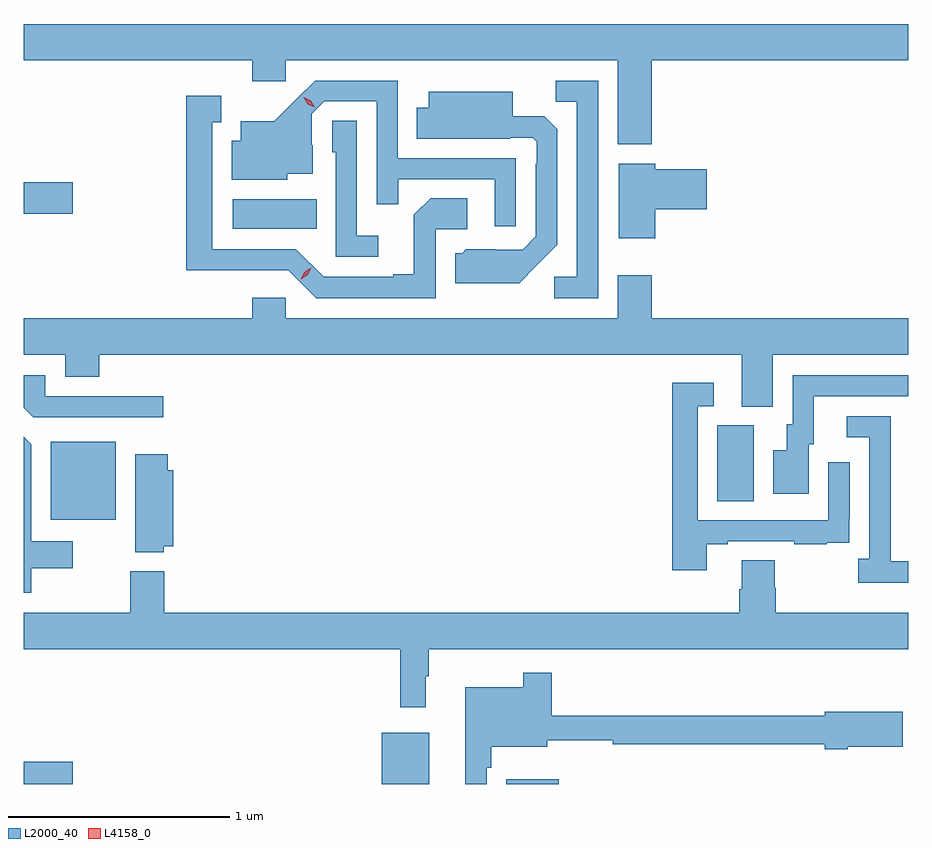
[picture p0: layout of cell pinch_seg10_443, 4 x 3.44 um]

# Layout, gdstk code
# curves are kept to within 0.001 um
import gdstk
lib = gdstk.Library(unit=1e-6, precision=1e-09)
def R(c, l, rs):  # rectangles x0, y0, x1, y1
    for r in rs: c.add(gdstk.rectangle(r[:2], r[2:], *l))
def P(c, l, *ps):  # polygons
    for p in ps: c.add(gdstk.Polygon(p, *l))
L2000_40 = (2000, 40)
L4158_0 = (4158, 0)

pinch_seg10_443 = lib.new_cell('pinch_seg10_443')
R(pinch_seg10_443, L2000_40, [(324.465,1291.714,324.685,1291.814), (326.084,1291.714,326.299,1291.945), (326.648,1291.714,326.884,1291.735), (324.587,1292.909,324.88,1293.262), (327.602,1292.992,327.766,1293.336), (325.41,1294.226,325.79,1294.36), (324.465,1294.294,324.685,1294.436)])
P(pinch_seg10_443, L2000_40, [(327.305,1294.988),(328.465,1294.988),(328.465,1295.152),(324.465,1295.152),(324.465,1294.988),(325.499,1294.988),(325.499,1294.893),(325.65,1294.893),(325.65,1294.988),(327.152,1294.988),(327.152,1294.608),(327.305,1294.608)],
  [(327.063,1294.896),(326.872,1294.896),(326.872,1294.801),(326.967,1294.801),(326.967,1294.008),(326.865,1294.008),(326.865,1293.912),(327.063,1293.912)],
  [(326.691,1294.545),(326.157,1294.545),(326.157,1294.896),(325.784,1294.896),(325.597,1294.711),(325.445,1294.711),(325.445,1294.624),(325.406,1294.624),(325.406,1294.448),(325.656,1294.448),(325.656,1294.475),(325.771,1294.475),(325.771,1294.604),(325.767,1294.604),(325.767,1294.746),(325.824,1294.803),(326.061,1294.803),(326.061,1294.336),(326.159,1294.336),(326.159,1294.449),(326.595,1294.449),(326.595,1294.236),(326.691,1294.236)],
  [(326.785,1294.061),(326.877,1294.154),(326.877,1294.676),(326.818,1294.735),(326.677,1294.735),(326.677,1294.846),(326.297,1294.846),(326.297,1294.774),(326.242,1294.774),(326.242,1294.634),(326.666,1294.634),(326.666,1294.638),(326.766,1294.638),(326.784,1294.62),(326.784,1294.52),(326.781,1294.52),(326.781,1294.191),(326.721,1294.131),(326.464,1294.132),(326.448,1294.116),(326.417,1294.116),(326.417,1293.98),(326.705,1293.98)],
  [(326.328,1294.224),(326.47,1294.224),(326.47,1294.364),(326.305,1294.364),(326.229,1294.288),(326.229,1294.021),(326.135,1294.021),(326.135,1294.008),(325.821,1294.008),(325.695,1294.134),(325.318,1294.134),(325.318,1294.707),(325.357,1294.707),(325.357,1294.828),(325.2,1294.828),(325.2,1294.037),(325.662,1294.038),(325.788,1293.912),(326.328,1293.912)],
  [(326.068,1294.195),(325.971,1294.195),(325.971,1294.715),(325.86,1294.715),(325.86,1294.572),(325.875,1294.572),(325.875,1294.098),(326.068,1294.098)],
  [(327.322,1294.313),(327.553,1294.313),(327.553,1294.496),(327.322,1294.496),(327.322,1294.519),(327.155,1294.519),(327.155,1294.182),(327.322,1294.182)],
  [(327.853,1293.656),(328.465,1293.656),(328.465,1293.82),(327.305,1293.82),(327.305,1294.015),(327.152,1294.015),(327.152,1293.82),(325.65,1293.82),(325.65,1293.913),(325.499,1293.913),(325.499,1293.82),(324.465,1293.82),(324.465,1293.656),(324.653,1293.656),(324.653,1293.557),(324.806,1293.557),(324.806,1293.656),(327.713,1293.656),(327.713,1293.421),(327.853,1293.421)],
  [(328.015,1293.252),(328.039,1293.252),(328.039,1293.468),(328.465,1293.468),(328.465,1293.564),(327.942,1293.564),(327.942,1293.342),(327.917,1293.342),(327.917,1293.223),(327.854,1293.223),(327.854,1293.027),(328.015,1293.027)],
  [(325.096,1293.468),(324.561,1293.468),(324.561,1293.564),(324.465,1293.564),(324.465,1293.415),(324.507,1293.372),(325.096,1293.372)],
  [(327.553,1292.799),(327.649,1292.799),(327.649,1292.811),(327.949,1292.811),(327.949,1292.799),(328.097,1292.799),(328.097,1292.805),(328.199,1292.805),(328.199,1292.914),(328.2,1292.914),(328.2,1293.169),(328.104,1293.169),(328.104,1292.907),(327.513,1292.907),(327.513,1293.423),(327.586,1293.423),(327.586,1293.529),(327.397,1293.529),(327.397,1292.682),(327.553,1292.682)],
  [(328.465,1292.721),(328.387,1292.721),(328.387,1292.921),(328.386,1292.921),(328.386,1293.378),(328.188,1293.378),(328.188,1293.282),(328.29,1293.282),(328.29,1292.734),(328.239,1292.734),(328.239,1292.624),(328.465,1292.624)],
  [(324.499,1292.69),(324.685,1292.69),(324.685,1292.812),(324.499,1292.812),(324.499,1293.251),(324.465,1293.285),(324.465,1292.579),(324.499,1292.579)],
  [(325.098,1292.789),(325.141,1292.789),(325.141,1293.133),(325.115,1293.133),(325.115,1293.205),(324.968,1293.205),(324.968,1292.762),(325.098,1292.762)],
  [(326.284,1292.201),(326.296,1292.201),(326.296,1292.324),(328.465,1292.324),(328.465,1292.488),(327.866,1292.488),(327.866,1292.601),(327.861,1292.601),(327.861,1292.726),(327.713,1292.726),(327.713,1292.594),(327.701,1292.594),(327.701,1292.488),(325.1,1292.488),(325.1,1292.677),(324.947,1292.677),(324.947,1292.488),(324.465,1292.488),(324.465,1292.324),(326.167,1292.324),(326.167,1292.061),(326.284,1292.061)],
  [(326.559,1291.787),(326.579,1291.787),(326.579,1291.883),(326.833,1291.883),(326.833,1291.913),(327.129,1291.913),(327.129,1291.894),(328.088,1291.894),(328.088,1291.871),(328.192,1291.871),(328.192,1291.883),(328.441,1291.883),(328.441,1292.041),(328.088,1292.041),(328.088,1292.023),(326.852,1292.023),(326.852,1292.218),(326.724,1292.218),(326.724,1292.152),(326.462,1292.152),(326.462,1291.714),(326.559,1291.714)])
P(pinch_seg10_443, L4158_0, [(325.78,1294.776),(325.749,1294.79),(325.732,1294.82),(325.732,1294.82),(325.732,1294.82),(325.763,1294.805),(325.78,1294.776),(325.78,1294.776)],
  [(325.717,1293.997),(325.717,1293.998),(325.734,1294.03),(325.766,1294.05),(325.766,1294.05),(325.766,1294.049),(325.749,1294.017),(325.717,1293.997)])

lib.write_gds('pinch_seg10_443.gds')
